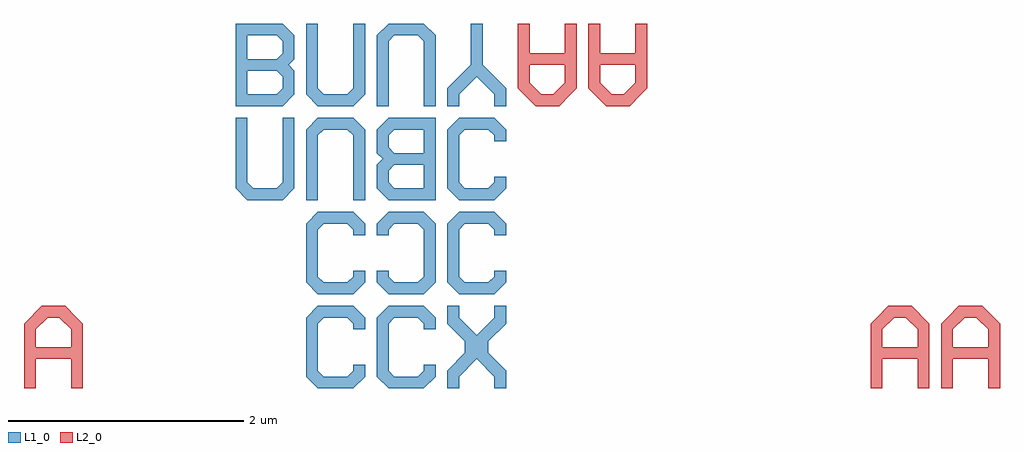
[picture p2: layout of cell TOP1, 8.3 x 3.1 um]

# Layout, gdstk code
from math import pi, radians
import gdstk
lib = gdstk.Library(unit=1e-6, precision=1e-09)
def P(c, l, *ps):  # polygons
    for p in ps: c.add(gdstk.Polygon(p, *l))
L1_0 = (1, 0)
L2_0 = (2, 0)

text_10_1 = lib.new_cell('TEXT$10$1')
P(text_10_1, L2_0, [(0,0),(0,0.55),(0.15,0.7),(0.35,0.7),(0.45,0.6),(0.2,0.6),(0.1,0.5),(0.1,0.35),(0.4,0.35),(0.4,0.5),(0.3,0.6),(0.45,0.6),(0.5,0.55),(0.5,0),(0.4,0),(0.4,0.25),(0.1,0.25),(0.1,0)])

c_a = lib.new_cell('A')
c_a.add(gdstk.Reference(text_10_1, (0,0)))

text = lib.new_cell('TEXT')
P(text, L1_0, [(0,0),(0,0.7),(0.4,0.7),(0.5,0.6),(0.1,0.6),(0.1,0.4),(0.35,0.4),(0.4,0.45),(0.4,0.55),(0.35,0.6),(0.5,0.6),(0.5,0.4),(0.45,0.35),(0.5,0.3),(0.1,0.3),(0.1,0.1),(0.35,0.1),(0.4,0.15),(0.4,0.25),(0.35,0.3),(0.5,0.3),(0.5,0.1),(0.4,0)])

text_5 = lib.new_cell('TEXT$5')
P(text_5, L1_0, [(0.1,0),(0,0.1),(0,0.7),(0.1,0.7),(0.1,0.15),(0.15,0.1),(0.35,0.1),(0.4,0.15),(0.4,0.7),(0.5,0.7),(0.5,0.1),(0.4,0)])

c_u = lib.new_cell('U')
c_u.add(gdstk.Reference(text_5, (0,0)))

c_b = lib.new_cell('B')
c_b.add(gdstk.Reference(text, (0,0)))
c_b.add(gdstk.Reference(c_u, (0.6,0)))
c_b.add(gdstk.Reference(c_u, (1.7,0.7), rotation=pi))

text_2 = lib.new_cell('TEXT$2')
P(text_2, L1_0, [(0.1,0),(0,0.1),(0,0.6),(0.1,0.7),(0.4,0.7),(0.5,0.6),(0.5,0.5),(0.4,0.5),(0.4,0.55),(0.35,0.6),(0.15,0.6),(0.1,0.55),(0.1,0.15),(0.15,0.1),(0.35,0.1),(0.4,0.15),(0.4,0.2),(0.5,0.2),(0.5,0.1),(0.4,0)])

c_c = lib.new_cell('C')
c_c.add(gdstk.Reference(text_2, (0,0)))

text_8 = lib.new_cell('TEXT$8')
P(text_8, L1_0, [(0,0),(0,0.15),(0.15,0.3),(0.15,0.4),(0,0.55),(0,0.7),(0.1,0.7),(0.1,0.6),(0.25,0.45),(0.4,0.6),(0.4,0.7),(0.5,0.7),(0.5,0.55),(0.35,0.4),(0.35,0.3),(0.5,0.15),(0.5,0),(0.4,0),(0.4,0.1),(0.25,0.25),(0.1,0.1),(0.1,0)])

text_6_1 = lib.new_cell('TEXT$6$1')
P(text_6_1, L1_0, [(0.2,0),(0.2,0.35),(0,0.55),(0,0.7),(0.1,0.7),(0.1,0.6),(0.25,0.45),(0.4,0.6),(0.4,0.7),(0.5,0.7),(0.5,0.55),(0.3,0.35),(0.3,0)])

text_8_1 = lib.new_cell('TEXT$8$1')
P(text_8_1, L2_0, [(0,0),(0,0.55),(0.15,0.7),(0.35,0.7),(0.45,0.6),(0.2,0.6),(0.1,0.5),(0.1,0.35),(0.4,0.35),(0.4,0.5),(0.3,0.6),(0.45,0.6),(0.5,0.55),(0.5,0),(0.4,0),(0.4,0.25),(0.1,0.25),(0.1,0)],
  [(0.6,0),(0.6,0.55),(0.75,0.7),(0.95,0.7),(1.05,0.6),(0.8,0.6),(0.7,0.5),(0.7,0.35),(1,0.35),(1,0.5),(0.9,0.6),(1.05,0.6),(1.1,0.55),(1.1,0),(1,0),(1,0.25),(0.7,0.25),(0.7,0)])

c_aa = lib.new_cell('AA')
c_aa.add(gdstk.Reference(text_8_1, (0,0)))

c_y = lib.new_cell('Y')
c_y.add(gdstk.Reference(text_6_1, (0,0)))
c_y.add(gdstk.Reference(c_aa, (4.7,3.1), rotation=pi))
c_y.add(gdstk.Reference(c_aa, (0.6,0)))

c_x = lib.new_cell('X')
c_x.add(gdstk.Reference(text_8, (0,0)))
c_x.add(gdstk.Reference(c_y, (0,3.1), x_reflection=True))

top1 = lib.new_cell('TOP1')
top1.add(gdstk.Reference(c_a, (0,0)))
top1.add(gdstk.Reference(c_b, (1.8,2.4)))
top1.add(gdstk.Reference(c_b, (3.5,2.3), rotation=pi))
top1.add(gdstk.Reference(c_c, (2.4,0.8)))
top1.add(gdstk.Reference(c_c, (3.5,1.5), rotation=pi))
top1.add(gdstk.Reference(c_x, (3.6,0)))
top1.add(gdstk.Reference(c_c, (3.6,1.6)))
top1.add(gdstk.Reference(c_c, (3.6,0.8)))
top1.add(gdstk.Reference(c_c, (2.4,0)))
top1.add(gdstk.Reference(c_c, (3,0)))

lib.write_gds('TOP1.gds')
